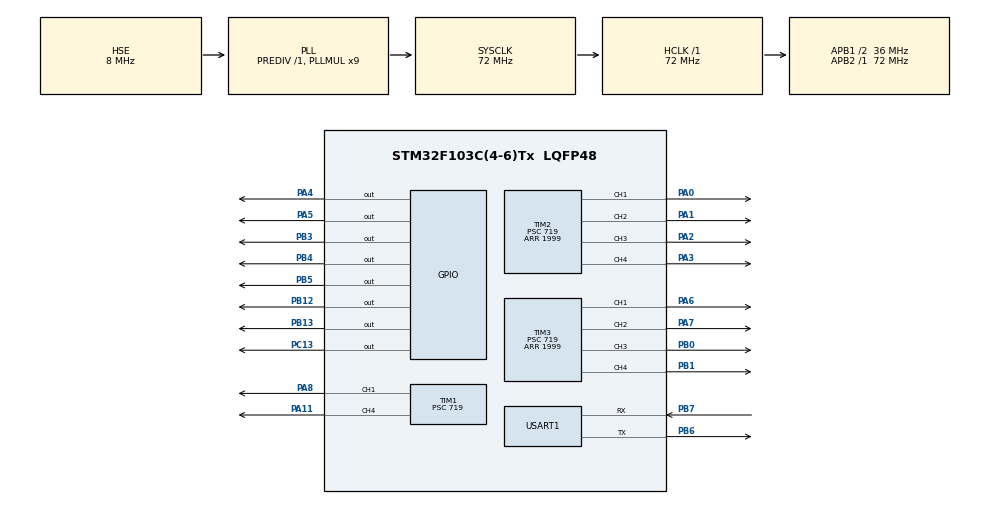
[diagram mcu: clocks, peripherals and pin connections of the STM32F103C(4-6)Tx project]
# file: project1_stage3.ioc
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Mcu.Family=STM32F1
Mcu.Name=STM32F103C(4-6)Tx
Mcu.Package=LQFP48
NVIC.PriorityGroup=NVIC_PRIORITYGROUP_4
NVIC.USART1_IRQn=true\:14\:0\:true\:false\:true\:true\:true\:true
PA0-WKUP.Signal=S_TIM2_CH1_ETR
PA1.Signal=S_TIM2_CH2
PA11.Signal=S_TIM1_CH4
PA13.Mode=Serial_Wire
PA13.Signal=SYS_JTMS-SWDIO
PA14.Mode=Serial_Wire
PA14.Signal=SYS_JTCK-SWCLK
PA2.Signal=S_TIM2_CH3
PA3.Signal=S_TIM2_CH4
PA4.Signal=GPIO_Output
PA5.Signal=GPIO_Output
PA6.Signal=S_TIM3_CH1
PA7.Signal=S_TIM3_CH2
PA8.Signal=S_TIM1_CH1
PB0.Signal=S_TIM3_CH3
PB1.Signal=S_TIM3_CH4
PB12.Signal=GPIO_Output
PB13.Signal=GPIO_Output
PB3.Signal=GPIO_Output
PB4.Signal=GPIO_Output
PB5.Signal=GPIO_Output
PB6.Mode=Asynchronous
PB6.Signal=USART1_TX
PB7.Mode=Asynchronous
PB7.Signal=USART1_RX
PC13-TAMPER-RTC.GPIO_Speed=GPIO_SPEED_FREQ_MEDIUM
PC13-TAMPER-RTC.Signal=GPIO_Output
PD0-OSC_IN.Mode=HSE-External-Oscillator
PD0-OSC_IN.Signal=RCC_OSC_IN
PD1-OSC_OUT.Mode=HSE-External-Oscillator
PD1-OSC_OUT.Signal=RCC_OSC_OUT
ProjectManager.HeapSize=0x200
ProjectManager.StackSize=0x400
ProjectManager.TargetToolchain=STM32CubeIDE
RCC.AHBFreq_Value=72000000
RCC.APB1CLKDivider=RCC_HCLK_DIV2
RCC.APB1Freq_Value=36000000
RCC.APB1TimFreq_Value=72000000
RCC.APB2Freq_Value=72000000
RCC.APB2TimFreq_Value=72000000
RCC.HCLKFreq_Value=72000000
RCC.PLLMUL=RCC_PLL_MUL9
RCC.PLLSourceVirtual=RCC_PLLSOURCE_HSE
RCC.SYSCLKFreq_VALUE=72000000
RCC.SYSCLKSource=RCC_SYSCLKSOURCE_PLLCLK
RCC.USBFreq_Value=72000000
SH.S_TIM1_CH1.0=TIM1_CH1,PWM Generation1 CH1
SH.S_TIM1_CH4.0=TIM1_CH4,PWM Generation4 CH4
SH.S_TIM2_CH1_ETR.0=TIM2_CH1,PWM Generation1 CH1
SH.S_TIM2_CH2.0=TIM2_CH2,PWM Generation2 CH2
SH.S_TIM2_CH3.0=TIM2_CH3,PWM Generation3 CH3
SH.S_TIM2_CH4.0=TIM2_CH4,PWM Generation4 CH4
SH.S_TIM3_CH1.0=TIM3_CH1,PWM Generation1 CH1
SH.S_TIM3_CH2.0=TIM3_CH2,PWM Generation2 CH2
SH.S_TIM3_CH3.0=TIM3_CH3,PWM Generation3 CH3
SH.S_TIM3_CH4.0=TIM3_CH4,PWM Generation4 CH4
TIM1.Channel-PWM\ Generation1\ CH1=TIM_CHANNEL_1
TIM1.Channel-PWM\ Generation4\ CH4=TIM_CHANNEL_4
TIM1.Period=1999
TIM1.Prescaler=719
TIM2.Channel-PWM\ Generation1\ CH1=TIM_CHANNEL_1
TIM2.Channel-PWM\ Generation2\ CH2=TIM_CHANNEL_2
TIM2.Channel-PWM\ Generation3\ CH3=TIM_CHANNEL_3
TIM2.Channel-PWM\ Generation4\ CH4=TIM_CHANNEL_4
TIM2.Period=1999
TIM2.Prescaler=719
TIM2.Pulse-PWM\ Generation2\ CH2=0
TIM2.Pulse-PWM\ Generation3\ CH3=50
TIM2.Pulse-PWM\ Generation4\ CH4=50
TIM3.Channel-PWM\ Generation1\ CH1=TIM_CHANNEL_1
TIM3.Channel-PWM\ Generation2\ CH2=TIM_CHANNEL_2
TIM3.Channel-PWM\ Generation3\ CH3=TIM_CHANNEL_3
TIM3.Channel-PWM\ Generation4\ CH4=TIM_CHANNEL_4
TIM3.Period=1999
TIM3.Prescaler=719
USART1.VirtualMode=VM_ASYNC
board=custom

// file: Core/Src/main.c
#include "main.h"
#include <string.h>
#include <stdlib.h>
#include <stdio.h>
#include "led_fan.h"
#include "door.h"
#include "other_devices.h"

#define NUMBER_OF_LED_FAN	8
#define NUMBER_OF_DOOR		2
#define NUMBER_OF_DEVICES	7

TIM_HandleTypeDef htim1;
TIM_HandleTypeDef htim2;
TIM_HandleTypeDef htim3;

UART_HandleTypeDef huart1;

uint8_t size = 0;

Led_Fan array_led_fan[NUMBER_OF_LED_FAN] = {
		{1, 0, TIM2, TIM_CHANNEL_1, GPIOA, GPIO_PIN_0},
		{2, 0, TIM2, TIM_CHANNEL_2, GPIOA, GPIO_PIN_1},
		{7, 0, TIM3, TIM_CHANNEL_1, GPIOA, GPIO_PIN_6},
		{10, 0, TIM3, TIM_CHANNEL_2, GPIOA, GPIO_PIN_7},
		{11, 0, TIM3, TIM_CHANNEL_3, GPIOB, GPIO_PIN_0},
		{13, 0, TIM3, TIM_CHANNEL_4, GPIOB, GPIO_PIN_1},
		{14, 0, TIM1, TIM_CHANNEL_1, GPIOA, GPIO_PIN_8},
		{16, 0, TIM1, TIM_CHANNEL_4, GPIOA, GPIO_PIN_11},
};

Door array_door[NUMBER_OF_DOOR] = {
		{5, 0, TIM2, TIM_CHANNEL_3, GPIOA, GPIO_PIN_2},
		{6, 0, TIM2, TIM_CHANNEL_4, GPIOA, GPIO_PIN_3},
};

Oher_Devices array_devices[NUMBER_OF_DEVICES] = {
		{3, 0, GPIOA, GPIO_PIN_4},
		{4, 0, GPIOA, GPIO_PIN_5},
		{8, 0, GPIOB, GPIO_PIN_3},
		{9, 0, GPIOB, GPIO_PIN_4},
		{12, 0, GPIOB, GPIO_PIN_5},
		{15, 0, GPIOB, GPIO_PIN_12},
		{17, 0, GPIOB, GPIO_PIN_13},
};

void SystemClock_Config(void);
static void MX_GPIO_Init(void);
static void MX_TIM2_Init(void);
static void MX_USART1_UART_Init(void);
static void MX_TIM3_Init(void);
static void MX_TIM1_Init(void);

int main(void)
{

  /* MCU Configuration--------------------------------------------------------*/

  /* Reset of all peripherals, Initializes the Flash interface and the Systick. */
  HAL_Init();

  /* Configure the system clock */
  SystemClock_Config();

  /* Initialize all configured peripherals */
  MX_GPIO_Init();
  MX_TIM2_Init();
  MX_USART1_UART_Init();
  MX_TIM3_Init();
  MX_TIM1_Init();
  /* USER CODE BEGIN 2 */
  if(HAL_TIM_PWM_Start(&htim1, TIM_CHANNEL_1) != HAL_OK){
	  Error_Handler();
  }
  if(HAL_TIM_PWM_Start(&htim1, TIM_CHANNEL_4) != HAL_OK){
	  Error_Handler();
  }
  if(HAL_TIM_PWM_Start(&htim2, TIM_CHANNEL_1) != HAL_OK){
  	  Error_Handler();
  }
  if(HAL_TIM_PWM_Start(&htim2, TIM_CHANNEL_2) != HAL_OK){
  	  Error_Handler();
  }
  if(HAL_TIM_PWM_Start(&htim2, TIM_CHANNEL_3) != HAL_OK){
  	  Error_Handler();
  }
  if(HAL_TIM_PWM_Start(&htim2, TIM_CHANNEL_4) != HAL_OK){
  	  Error_Handler();
  }
  if(HAL_TIM_PWM_Start(&htim3, TIM_CHANNEL_1) != HAL_OK){
  	  Error_Handler();
  }
  if(HAL_TIM_PWM_Start(&htim3, TIM_CHANNEL_2) != HAL_OK){
  	  Error_Handler();
  }
  if(HAL_TIM_PWM_Start(&htim3, TIM_CHANNEL_3) != HAL_OK){
  	  Error_Handler();
  }
  if(HAL_TIM_PWM_Start(&htim3, TIM_CHANNEL_4) != HAL_OK){
  	  Error_Handler();
  }

  HAL_UART_Receive_IT(&huart1, &size, 1);
  /* USER CODE END 2 */
  HAL_GPIO_WritePin(GPIOC, GPIO_PIN_13, ENABLE);
  /* Infinite loop */
  while (1)
  {

  }
}

void SystemClock_Config(void)
{
  RCC_OscInitTypeDef RCC_OscInitStruct = {0};
  RCC_ClkInitTypeDef RCC_ClkInitStruct = {0};

  /** Initializes the RCC Oscillators according to the specified parameters
  * in the RCC_OscInitTypeDef structure.
  */
  RCC_OscInitStruct.OscillatorType = RCC_OSCILLATORTYPE_HSE;
  RCC_OscInitStruct.HSEState = RCC_HSE_ON;
  RCC_OscInitStruct.HSEPredivValue = RCC_HSE_PREDIV_DIV1;
  RCC_OscInitStruct.HSIState = RCC_HSI_ON;
  RCC_OscInitStruct.PLL.PLLState = RCC_PLL_ON;
  RCC_OscInitStruct.PLL.PLLSource = RCC_PLLSOURCE_HSE;
  RCC_OscInitStruct.PLL.PLLMUL = RCC_PLL_MUL9;
  if (HAL_RCC_OscConfig(&RCC_OscInitStruct) != HAL_OK)
  {
    Error_Handler();
  }

  /** Initializes the CPU, AHB and APB buses clocks
  */
  RCC_ClkInitStruct.ClockType = RCC_CLOCKTYPE_HCLK|RCC_CLOCKTYPE_SYSCLK
                              |RCC_CLOCKTYPE_PCLK1|RCC_CLOCKTYPE_PCLK2;
  RCC_ClkInitStruct.SYSCLKSource = RCC_SYSCLKSOURCE_PLLCLK;
  RCC_ClkInitStruct.AHBCLKDivider = RCC_SYSCLK_DIV1;
  RCC_ClkInitStruct.APB1CLKDivider = RCC_HCLK_DIV2;
  RCC_ClkInitStruct.APB2CLKDivider = RCC_HCLK_DIV1;

  if (HAL_RCC_ClockConfig(&RCC_ClkInitStruct, FLASH_LATENCY_2) != HAL_OK)
  {
    Error_Handler();
  }
}

static void MX_TIM1_Init(void)
{

  TIM_MasterConfigTypeDef sMasterConfig = {0};
  TIM_OC_InitTypeDef sConfigOC = {0};
  TIM_BreakDeadTimeConfigTypeDef sBreakDeadTimeConfig = {0};

  htim1.Instance = TIM1;
  htim1.Init.Prescaler = 719;
  htim1.Init.CounterMode = TIM_COUNTERMODE_UP;
  htim1.Init.Period = 1999;
  htim1.Init.ClockDivision = TIM_CLOCKDIVISION_DIV1;
  htim1.Init.RepetitionCounter = 0;
  htim1.Init.AutoReloadPreload = TIM_AUTORELOAD_PRELOAD_DISABLE;
  if (HAL_TIM_PWM_Init(&htim1) != HAL_OK)
  {
    Error_Handler();
  }
  sMasterConfig.MasterOutputTrigger = TIM_TRGO_RESET;
  sMasterConfig.MasterSlaveMode = TIM_MASTERSLAVEMODE_DISABLE;
  if (HAL_TIMEx_MasterConfigSynchronization(&htim1, &sMasterConfig) != HAL_OK)
  {
    Error_Handler();
  }
  sConfigOC.OCMode = TIM_OCMODE_PWM1;
  sConfigOC.Pulse = 0;
  sConfigOC.OCPolarity = TIM_OCPOLARITY_HIGH;
  sConfigOC.OCNPolarity = TIM_OCNPOLARITY_HIGH;
  sConfigOC.OCFastMode = TIM_OCFAST_DISABLE;
  sConfigOC.OCIdleState = TIM_OCIDLESTATE_RESET;
  sConfigOC.OCNIdleState = TIM_OCNIDLESTATE_RESET;
  if (HAL_TIM_PWM_ConfigChannel(&htim1, &sConfigOC, TIM_CHANNEL_1) != HAL_OK)
  {
    Error_Handler();
  }
  if (HAL_TIM_PWM_ConfigChannel(&htim1, &sConfigOC, TIM_CHANNEL_4) != HAL_OK)
  {
    Error_Handler();
  }
  sBreakDeadTimeConfig.OffStateRunMode = TIM_OSSR_DISABLE;
  sBreakDeadTimeConfig.OffStateIDLEMode = TIM_OSSI_DISABLE;
  sBreakDeadTimeConfig.LockLevel = TIM_LOCKLEVEL_OFF;
  sBreakDeadTimeConfig.DeadTime = 0;
  sBreakDeadTimeConfig.BreakState = TIM_BREAK_DISABLE;
  sBreakDeadTimeConfig.BreakPolarity = TIM_BREAKPOLARITY_HIGH;
  sBreakDeadTimeConfig.AutomaticOutput = TIM_AUTOMATICOUTPUT_DISABLE;
  if (HAL_TIMEx_ConfigBreakDeadTime(&htim1, &sBreakDeadTimeConfig) != HAL_OK)
  {
    Error_Handler();
  }
  HAL_TIM_MspPostInit(&htim1);

}

static void MX_TIM2_Init(void)
{

  TIM_MasterConfigTypeDef sMasterConfig = {0};
  TIM_OC_InitTypeDef sConfigOC = {0};

  htim2.Instance = TIM2;
  htim2.Init.Prescaler = 719;
  htim2.Init.CounterMode = TIM_COUNTERMODE_UP;
  htim2.Init.Period = 1999;
  htim2.Init.ClockDivision = TIM_CLOCKDIVISION_DIV1;
  htim2.Init.AutoReloadPreload = TIM_AUTORELOAD_PRELOAD_DISABLE;
  if (HAL_TIM_PWM_Init(&htim2) != HAL_OK)
  {
    Error_Handler();
  }
  sMasterConfig.MasterOutputTrigger = TIM_TRGO_RESET;
  sMasterConfig.MasterSlaveMode = TIM_MASTERSLAVEMODE_DISABLE;
  if (HAL_TIMEx_MasterConfigSynchronization(&htim2, &sMasterConfig) != HAL_OK)
  {
    Error_Handler();
  }
  sConfigOC.OCMode = TIM_OCMODE_PWM1;
  sConfigOC.Pulse = 0;
  sConfigOC.OCPolarity = TIM_OCPOLARITY_HIGH;
  sConfigOC.OCFastMode = TIM_OCFAST_DISABLE;
  if (HAL_TIM_PWM_ConfigChannel(&htim2, &sConfigOC, TIM_CHANNEL_1) != HAL_OK)
  {
    Error_Handler();
  }
  if (HAL_TIM_PWM_ConfigChannel(&htim2, &sConfigOC, TIM_CHANNEL_2) != HAL_OK)
  {
    Error_Handler();
  }
  sConfigOC.Pulse = 50;
  if (HAL_TIM_PWM_ConfigChannel(&htim2, &sConfigOC, TIM_CHANNEL_3) != HAL_OK)
  {
    Error_Handler();
  }
  if (HAL_TIM_PWM_ConfigChannel(&htim2, &sConfigOC, TIM_CHANNEL_4) != HAL_OK)
  {
    Error_Handler();
  }
  HAL_TIM_MspPostInit(&htim2);

}

static void MX_TIM3_Init(void)
{

  TIM_MasterConfigTypeDef sMasterConfig = {0};
  TIM_OC_InitTypeDef sConfigOC = {0};

  htim3.Instance = TIM3;
  htim3.Init.Prescaler = 719;
  htim3.Init.CounterMode = TIM_COUNTERMODE_UP;
  htim3.Init.Period = 1999;
  htim3.Init.ClockDivision = TIM_CLOCKDIVISION_DIV1;
  htim3.Init.AutoReloadPreload = TIM_AUTORELOAD_PRELOAD_DISABLE;
  if (HAL_TIM_PWM_Init(&htim3) != HAL_OK)
  {
    Error_Handler();
  }
  sMasterConfig.MasterOutputTrigger = TIM_TRGO_RESET;
  sMasterConfig.MasterSlaveMode = TIM_MASTERSLAVEMODE_DISABLE;
  if (HAL_TIMEx_MasterConfigSynchronization(&htim3, &sMasterConfig) != HAL_OK)
  {
    Error_Handler();
  }
  sConfigOC.OCMode = TIM_OCMODE_PWM1;
  sConfigOC.Pulse = 0;
  sConfigOC.OCPolarity = TIM_OCPOLARITY_HIGH;
  sConfigOC.OCFastMode = TIM_OCFAST_DISABLE;
  if (HAL_TIM_PWM_ConfigChannel(&htim3, &sConfigOC, TIM_CHANNEL_1) != HAL_OK)
  {
    Error_Handler();
  }
  if (HAL_TIM_PWM_ConfigChannel(&htim3, &sConfigOC, TIM_CHANNEL_2) != HAL_OK)
  {
    Error_Handler();
  }
  if (HAL_TIM_PWM_ConfigChannel(&htim3, &sConfigOC, TIM_CHANNEL_3) != HAL_OK)
  {
    Error_Handler();
  }
  if (HAL_TIM_PWM_ConfigChannel(&htim3, &sConfigOC, TIM_CHANNEL_4) != HAL_OK)
  {
    Error_Handler();
  }
  HAL_TIM_MspPostInit(&htim3);

}

static void MX_USART1_UART_Init(void)
{
  huart1.Instance = USART1;
  huart1.Init.BaudRate = 115200;
  huart1.Init.WordLength = UART_WORDLENGTH_8B;
  huart1.Init.StopBits = UART_STOPBITS_1;
  huart1.Init.Parity = UART_PARITY_NONE;
  huart1.Init.Mode = UART_MODE_TX_RX;
  huart1.Init.HwFlowCtl = UART_HWCONTROL_NONE;
  huart1.Init.OverSampling = UART_OVERSAMPLING_16;
  if (HAL_UART_Init(&huart1) != HAL_OK)
  {
    Error_Handler();
  }
}

static void MX_GPIO_Init(void)
{
  GPIO_InitTypeDef GPIO_InitStruct = {0};
  /* GPIO Ports Clock Enable */
  __HAL_RCC_GPIOC_CLK_ENABLE();
  __HAL_RCC_GPIOD_CLK_ENABLE();
  __HAL_RCC_GPIOA_CLK_ENABLE();
  __HAL_RCC_GPIOB_CLK_ENABLE();

  /*Configure GPIO pin Output Level */
  HAL_GPIO_WritePin(GPIOC, GPIO_PIN_13, GPIO_PIN_RESET);

  /*Configure GPIO pin Output Level */
  HAL_GPIO_WritePin(GPIOA, GPIO_PIN_4|GPIO_PIN_5, GPIO_PIN_RESET);

  /*Configure GPIO pin Output Level */
  HAL_GPIO_WritePin(GPIOB, GPIO_PIN_12|GPIO_PIN_13|GPIO_PIN_3|GPIO_PIN_4
                          |GPIO_PIN_5, GPIO_PIN_RESET);

  /*Configure GPIO pin : PC13 */
  GPIO_InitStruct.Pin = GPIO_PIN_13;
  GPIO_InitStruct.Mode = GPIO_MODE_OUTPUT_PP;
  GPIO_InitStruct.Pull = GPIO_NOPULL;
  GPIO_InitStruct.Speed = GPIO_SPEED_FREQ_MEDIUM;
  HAL_GPIO_Init(GPIOC, &GPIO_InitStruct);

  /*Configure GPIO pins : PA4 PA5 */
  GPIO_InitStruct.Pin = GPIO_PIN_4|GPIO_PIN_5;
  GPIO_InitStruct.Mode = GPIO_MODE_OUTPUT_PP;
  GPIO_InitStruct.Pull = GPIO_NOPULL;
  GPIO_InitStruct.Speed = GPIO_SPEED_FREQ_LOW;
  HAL_GPIO_Init(GPIOA, &GPIO_InitStruct);

  /*Configure GPIO pins : PB12 PB13 PB3 PB4
                           PB5 */
  GPIO_InitStruct.Pin = GPIO_PIN_12|GPIO_PIN_13|GPIO_PIN_3|GPIO_PIN_4
                          |GPIO_PIN_5;
  GPIO_InitStruct.Mode = GPIO_MODE_OUTPUT_PP;
  GPIO_InitStruct.Pull = GPIO_NOPULL;
  GPIO_InitStruct.Speed = GPIO_SPEED_FREQ_LOW;
  HAL_GPIO_Init(GPIOB, &GPIO_InitStruct);

}

/* USER CODE BEGIN 4 */

void control_device(char *detail[]){
	uint8_t flag = 0;

	if(strcmp(detail[0], "LED_FAN") == 0){
		Led_Fan *device = NULL;
		for(int i = 0; i < NUMBER_OF_LED_FAN; i++){
			if(array_led_fan[i].id == atoi(detail[1])){
				device = &array_led_fan[i];
				flag = 1;
				break;
			}
		}
		if(flag){
			device->brightness = atoi(detail[2])*15;
			Control_LED_FAN(device);
		}
	}
	else if(strcmp(detail[0], "DOOR") == 0){
		Door *door = NULL;
		for(int i = 0; i < NUMBER_OF_DOOR; i++){
			if(array_door[i].id == atoi(detail[1])){
				door = &array_door[i];
				flag = 1;
				break;
			}
		}
		if(flag){
			door->status = strcmp(detail[2], "OPEN") == 0;
			Control_DOOR(door);
		}
	}
	else if(strcmp(detail[0], "DEVICES") == 0){
		Oher_Devices *device = NULL;
		for(int i = 0; i < NUMBER_OF_DEVICES; i++){
			if(array_devices[i].id == atoi(detail[1])){
				device = &array_devices[i];
				flag = 1;
				break;
			}
		}
		if(flag){
			device->status = strcmp(detail[2], "ON") == 0;
			Control_Device(device);
		}
	}
}

void HAL_UART_RxCpltCallback(UART_HandleTypeDef *huart){
	if(huart->Instance == USART1){
		HAL_GPIO_TogglePin(GPIOC, GPIO_PIN_13);
		char *data = (char*) malloc(100);
		uint8_t s = size;
		HAL_UART_Receive(huart, (uint8_t*)data, size, HAL_MAX_DELAY);
		data[s] = '\0';
	    char *token = strtok(data, "+");
	    char *detail[4];
	    for (int j = 0; j < 4; j++) {
	        detail[j] = malloc(20); // Giả sử chuỗi có thể chứa tối đa 100 ký tự
	    }

	    char *val = strtok(NULL, "+");
	    int i = 0;
	    while(val != NULL && i < 4){
	    	strcpy(detail[i++], val);
	    	val = strtok(NULL, "+");
	    }

	    if(strcmp(token, "CONTROL") == 0){
	    	control_device(detail);
	    }
	    else if(strcmp(token, "FIRST_INIT") == 0){
	    	char mess[200] = "";
	    	for(int i = 0; i < NUMBER_OF_LED_FAN; i++){
	    		char id[4], brightness[6];
	    		sprintf(id, "%d", array_led_fan[i].id);
	    		sprintf(brightness, "%d", array_led_fan[i].brightness);

	    		strcat(mess, id);
	    		strcat(mess, "+");
	    		strcat(mess, brightness);
	    		strcat(mess, " ");
	    	}
	    	for(int i = 0; i < NUMBER_OF_DOOR; i++){
	    		char id[4];
	    		sprintf(id, "%d", array_door[i].id);

				strcat(mess, id);
				strcat(mess, "+");
				strcat(mess, array_door[i].status == 0 ? "CLOSE" : "OPEN");
				strcat(mess, " ");
			}
	    	for(int i = 0; i < NUMBER_OF_DEVICES; i++){
	    		char id[4];
	    		sprintf(id, "%d", array_devices[i].id);

				strcat(mess, id);
				strcat(mess, "+");
				strcat(mess, array_devices[i].status == 0 ? "OFF" : "ON");
				strcat(mess, " ");
			}

	    	uint8_t len = strlen(mess);
	    	HAL_UART_Transmit(&huart1, &len, 1, HAL_MAX_DELAY);
	    	HAL_Delay(10);
	    	HAL_UART_Transmit(&huart1, (uint8_t*)mess, len, HAL_MAX_DELAY);
	    }
		free(data);
		for (int j = 0; j < 4; j++) {
		    free(detail[j]);
		}
		HAL_UART_Receive_IT(huart, &size, 1);
	}
}

/* USER CODE END 4 */

void Error_Handler(void)
{
  __disable_irq();
  while (1)
  {
  }
}
